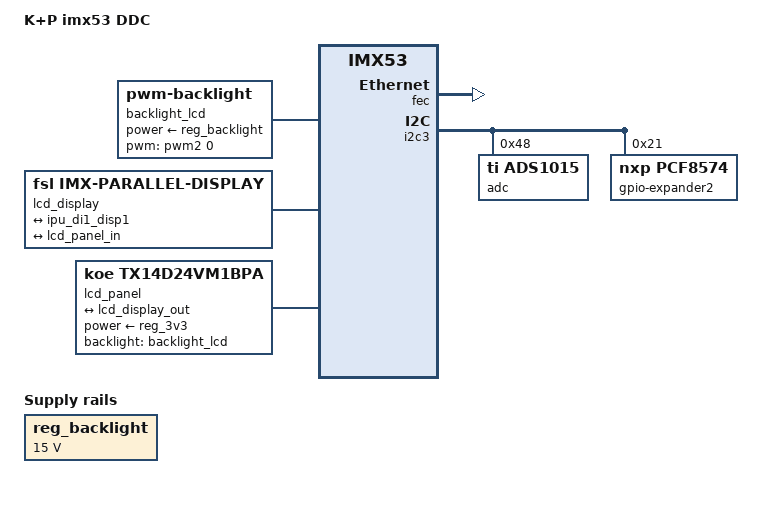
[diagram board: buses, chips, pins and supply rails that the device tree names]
// SPDX-License-Identifier: (GPL-2.0+ OR MIT)
/*
 * Copyright 2018
 * Lukasz Majewski, DENX Software Engineering, lukma@denx.de
 */

/dts-v1/;
#include "imx53-kp.dtsi"

/ {
	model = "K+P imx53 DDC";
	compatible = "kiebackpeter,imx53-ddc", "fsl,imx53";

	backlight_lcd: backlight {
		compatible = "pwm-backlight";
		pwms = <&pwm2 0 50000>;
		power-supply = <&reg_backlight>;
		brightness-levels = <0 24 28 32 36
				     40 44 48 52 56
				     60 64 68 72 76
				     80 84 88 92 96 100>;
		default-brightness-level = <20>;
	};

	lcd_display: display {
		compatible = "fsl,imx-parallel-display";
		#address-cells = <1>;
		#size-cells = <0>;
		interface-pix-fmt = "rgb24";
		pinctrl-names = "default";
		pinctrl-0 = <&pinctrl_disp>;

		port@0 {
			reg = <0>;

			display1_in: endpoint {
				remote-endpoint = <&ipu_di1_disp1>;
			};
		};

		port@1 {
			reg = <1>;

			lcd_display_out: endpoint {
				remote-endpoint = <&lcd_panel_in>;
			};
		};
	};

	lcd_panel: lcd-panel {
		compatible = "koe,tx14d24vm1bpa";
		backlight = <&backlight_lcd>;
		power-supply = <&reg_3v3>;

		port {
			lcd_panel_in: endpoint {
				remote-endpoint = <&lcd_display_out>;
			};
		};
	};

	reg_backlight: regulator-backlight {
		compatible = "regulator-fixed";
		regulator-name = "backlight-supply";
		regulator-min-microvolt = <15000000>;
		regulator-max-microvolt = <15000000>;
		regulator-always-on;
	};
};

&fec {
	status = "okay";
};

&i2c3 {
	adc@48 {
		compatible = "ti,ads1015";
		reg = <0x48>;
		#address-cells = <1>;
		#size-cells = <0>;

		channel@4 {
			reg = <4>;
			ti,gain = <2>;
			ti,datarate = <4>;
		};

		channel@6 {
			reg = <6>;
			ti,gain = <2>;
			ti,datarate = <4>;
		};
	};

	gpio-expander2@21 {
		compatible = "nxp,pcf8574";
		reg = <0x21>;
		interrupts = <109>;
		#gpio-cells = <2>;
		gpio-controller;
	};
};

&iomuxc {
	imx53-kp-ddc {
		pinctrl_disp: dispgrp {
			fsl,pins = <
				MX53_PAD_EIM_A16__IPU_DI1_DISP_CLK      0x4
				MX53_PAD_EIM_DA10__IPU_DI1_PIN15        0x4
				MX53_PAD_EIM_DA9__IPU_DISP1_DAT_0       0x4
				MX53_PAD_EIM_DA8__IPU_DISP1_DAT_1       0x4
				MX53_PAD_EIM_DA7__IPU_DISP1_DAT_2       0x4
				MX53_PAD_EIM_DA6__IPU_DISP1_DAT_3       0x4
				MX53_PAD_EIM_DA5__IPU_DISP1_DAT_4       0x4
				MX53_PAD_EIM_DA4__IPU_DISP1_DAT_5       0x4
				MX53_PAD_EIM_DA3__IPU_DISP1_DAT_6       0x4
				MX53_PAD_EIM_DA2__IPU_DISP1_DAT_7       0x4
				MX53_PAD_EIM_DA1__IPU_DISP1_DAT_8       0x4
				MX53_PAD_EIM_DA0__IPU_DISP1_DAT_9       0x4
				MX53_PAD_EIM_EB1__IPU_DISP1_DAT_10      0x4
				MX53_PAD_EIM_EB0__IPU_DISP1_DAT_11      0x4
				MX53_PAD_EIM_A17__IPU_DISP1_DAT_12      0x4
				MX53_PAD_EIM_A18__IPU_DISP1_DAT_13      0x4
				MX53_PAD_EIM_A19__IPU_DISP1_DAT_14      0x4
				MX53_PAD_EIM_A20__IPU_DISP1_DAT_15      0x4
				MX53_PAD_EIM_A21__IPU_DISP1_DAT_16      0x4
				MX53_PAD_EIM_A22__IPU_DISP1_DAT_17      0x4
				MX53_PAD_EIM_A23__IPU_DISP1_DAT_18      0x4
				MX53_PAD_EIM_A24__IPU_DISP1_DAT_19      0x4
				MX53_PAD_EIM_D31__IPU_DISP1_DAT_20      0x4
				MX53_PAD_EIM_D30__IPU_DISP1_DAT_21      0x4
				MX53_PAD_EIM_D26__IPU_DISP1_DAT_22      0x4
				MX53_PAD_EIM_D27__IPU_DISP1_DAT_23      0x4
				MX53_PAD_GPIO_1__PWM2_PWMO 0x4
			>;
		};
	};
};

&ipu_di1_disp1 {
	remote-endpoint = <&display1_in>;
};

&pmic {
	fsl,mc13xxx-uses-touch;
};
